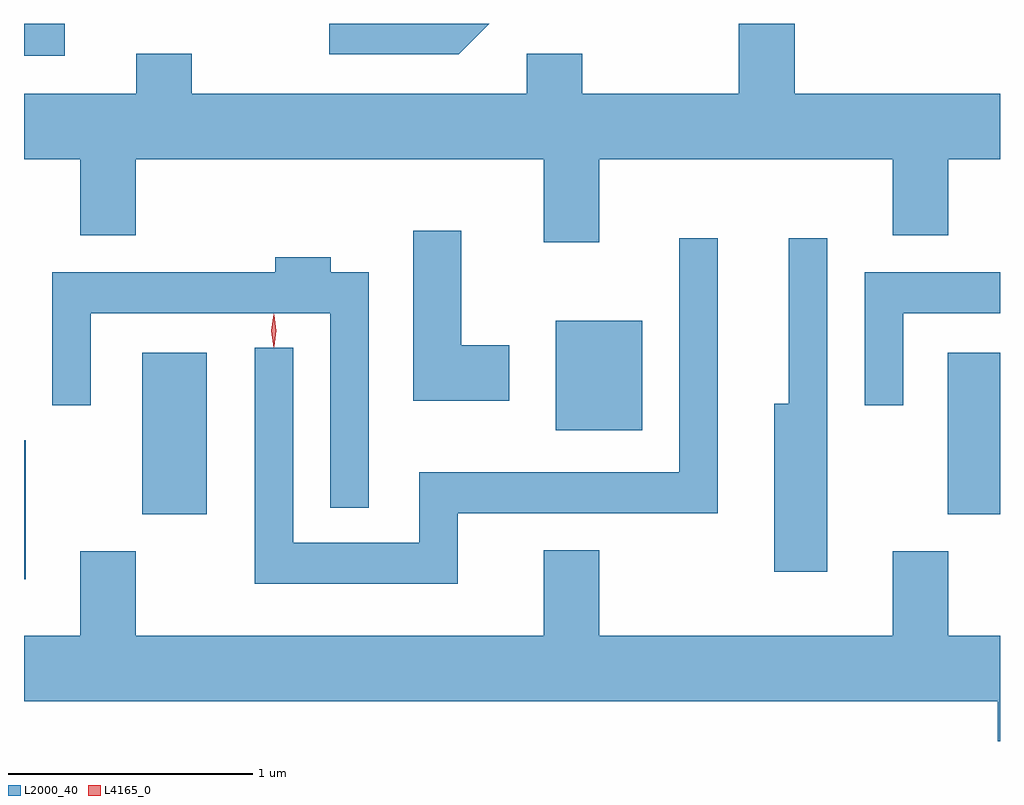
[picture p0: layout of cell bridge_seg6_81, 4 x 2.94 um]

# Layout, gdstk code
import gdstk
lib = gdstk.Library(unit=1e-6, precision=1e-09)
def R(c, l, rs):  # rectangles x0, y0, x1, y1
    for r in rs: c.add(gdstk.rectangle(r[:2], r[2:], *l))
def P(c, l, *ps):  # polygons
    for p in ps: c.add(gdstk.Polygon(p, *l))
L2000_40 = (2000, 40)
L4165_0 = (4165, 0)

bridge_seg6_81 = lib.new_cell('bridge_seg6_81')
R(bridge_seg6_81, L2000_40, [(1283.371,1665.976,1283.379,1666.544), (1283.856,1666.241,1284.119,1666.904), (1287.156,1666.241,1287.371,1666.904), (1285.551,1666.586,1285.904,1667.034), (1283.371,1668.121,1283.539,1668.252)])
P(bridge_seg6_81, L2000_40, [(1285.729,1667.696),(1286.931,1667.696),(1286.931,1667.386),(1287.159,1667.386),(1287.159,1667.696),(1287.371,1667.696),(1287.371,1667.964),(1286.529,1667.964),(1286.529,1668.252),(1286.301,1668.252),(1286.301,1667.964),(1285.659,1667.964),(1285.659,1668.129),(1285.431,1668.129),(1285.431,1667.964),(1284.059,1667.964),(1284.059,1668.129),(1283.831,1668.129),(1283.831,1667.964),(1283.371,1667.964),(1283.371,1667.696),(1283.601,1667.696),(1283.601,1667.386),(1283.829,1667.386),(1283.829,1667.696),(1285.501,1667.696),(1285.501,1667.356),(1285.729,1667.356)],
  [(1285.277,1668.252),(1284.623,1668.252),(1284.623,1668.126),(1285.152,1668.126)],
  [(1285.359,1666.934),(1285.164,1666.934),(1285.164,1667.404),(1284.966,1667.404),(1284.966,1666.706),(1285.359,1666.706)],
  [(1286.664,1667.373),(1286.506,1667.373),(1286.506,1666.694),(1286.446,1666.694),(1286.446,1666.006),(1286.664,1666.006)],
  [(1285.149,1666.246),(1286.214,1666.246),(1286.214,1667.373),(1286.056,1667.373),(1286.056,1666.414),(1284.991,1666.414),(1284.991,1666.124),(1284.474,1666.124),(1284.474,1666.923),(1284.316,1666.923),(1284.316,1665.956),(1285.149,1665.956)],
  [(1284.784,1667.234),(1284.629,1667.234),(1284.629,1667.294),(1284.401,1667.294),(1284.401,1667.234),(1283.486,1667.234),(1283.486,1666.688),(1283.644,1666.688),(1283.644,1667.066),(1284.626,1667.066),(1284.626,1666.268),(1284.784,1666.268)],
  [(1286.974,1667.066),(1287.371,1667.066),(1287.371,1667.234),(1286.816,1667.234),(1286.816,1666.688),(1286.974,1666.688)],
  [(1287.371,1665.744),(1287.159,1665.744),(1287.159,1666.089),(1286.931,1666.089),(1286.931,1665.744),(1285.729,1665.744),(1285.729,1666.094),(1285.501,1666.094),(1285.501,1665.744),(1283.829,1665.744),(1283.829,1666.089),(1283.601,1666.089),(1283.601,1665.744),(1283.371,1665.744),(1283.371,1665.476),(1287.361,1665.476),(1287.361,1665.311),(1287.371,1665.311)])
P(bridge_seg6_81, L4165_0, [(1284.394,1666.924),(1284.385,1666.993),(1284.394,1667.062),(1284.395,1667.063),(1284.395,1667.062),(1284.405,1666.993),(1284.395,1666.924),(1284.395,1666.924)],
  [(1284.395,1666.927),(1284.395,1666.927),(1284.386,1666.994),(1284.395,1667.06),(1284.396,1667.06),(1284.396,1667.06),(1284.405,1666.994),(1284.396,1666.927)])

lib.write_gds('bridge_seg6_81.gds')
